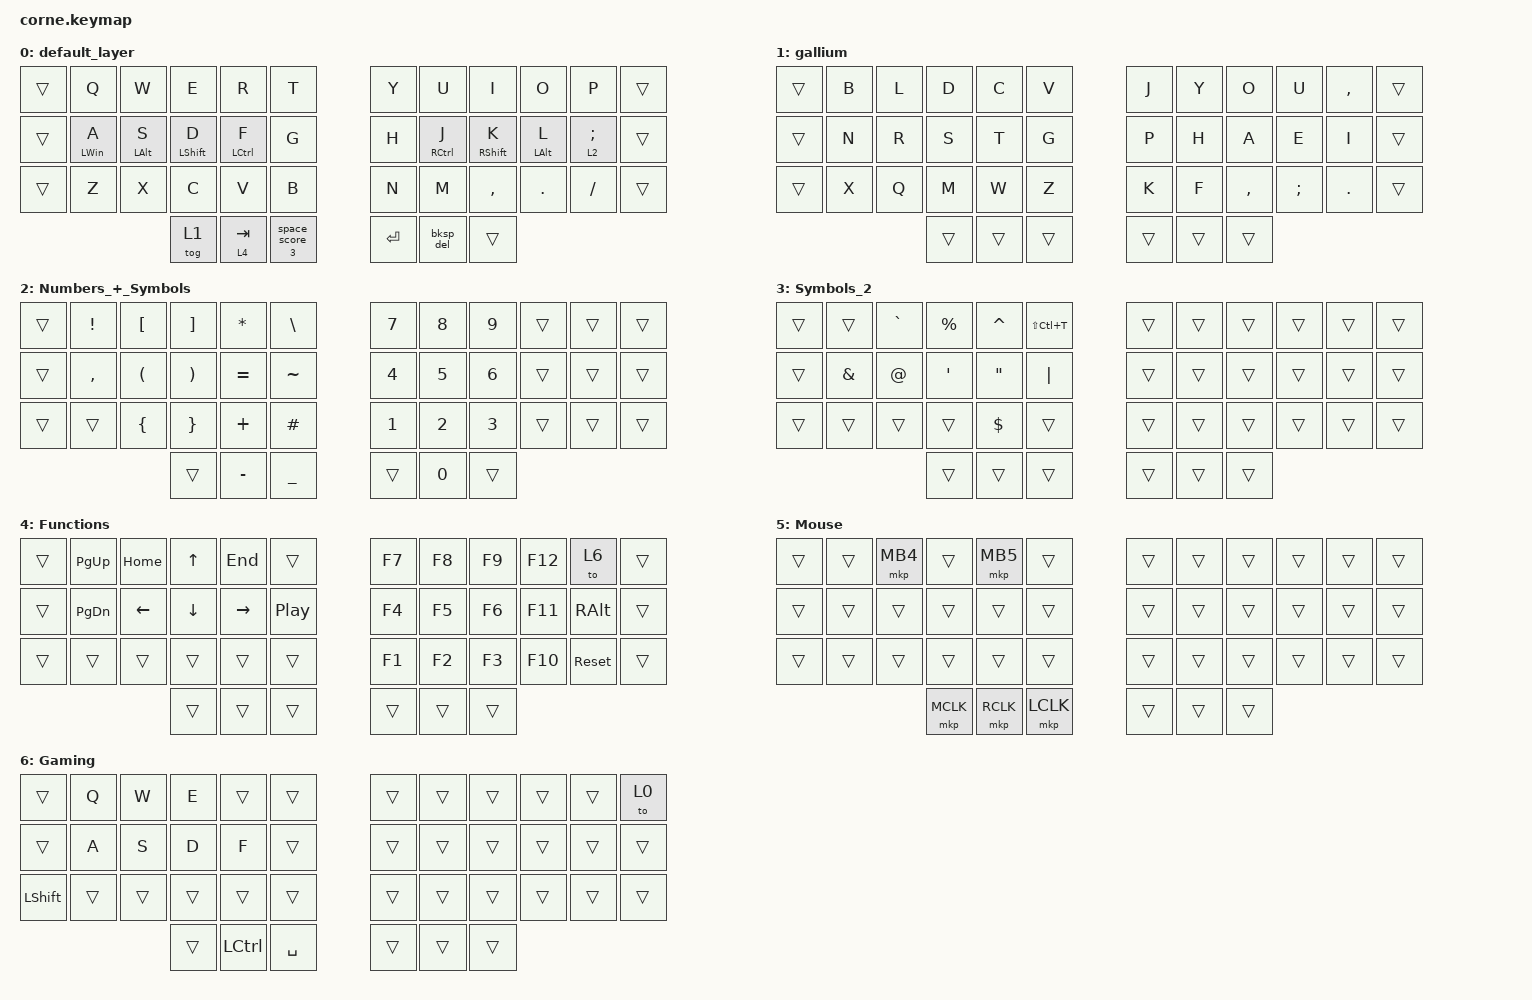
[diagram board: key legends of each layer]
/*
 * Copyright (c) 2020 The ZMK Contributors
 *
 * SPDX-License-Identifier: MIT
 */

#include <behaviors.dtsi>
#include <dt-bindings/zmk/keys.h>
#include <dt-bindings/zmk/pointing.h>

&lt { quick-tap-ms = <200>; };

/ {
    combos {
        compatible = "zmk,combos";

        // Escape combo: Q + W

        combo_esc {
            timeout-ms = <50>;
            key-positions = <19 20>;
            bindings = <&kp ESC>;
        };

        esc2 {
            bindings = <&kp ESC>;
            key-positions = <15 16>;
            timeout-ms = <50>;
        };
    };

    behaviors {
        bksp_del: bksp_del {
            compatible = "zmk,behavior-mod-morph";
            label = "BKSP_DEL";
            bindings = <&kp BACKSPACE>, <&kp DEL>;

            #binding-cells = <0>;
            mods = <(MOD_LSFT|MOD_RSFT)>;
        };

        hm_left: hm_left {
            compatible = "zmk,behavior-hold-tap";
            label = "HM_LEFT";
            bindings = <&kp>, <&kp>;

            #binding-cells = <2>;
            tapping-term-ms = <200>;
            flavor = "balanced";
            hold-trigger-key-positions = <6 7 8 9 10 11 18 19 20 21 22 23 30 31 32 33 34 35 39 40 41>;
            hold-trigger-on-release;
        };

        layer_hold: layer_hold {
            compatible = "zmk,behavior-hold-tap";
            label = "LAYER_HOLD";
            bindings = <&tog>, <&kp>;

            #binding-cells = <2>;
            tapping-term-ms = <200>;
        };

        hm_right: hm_right {
            compatible = "zmk,behavior-hold-tap";
            label = "HM_RIGHT";
            bindings = <&kp>, <&kp>;

            #binding-cells = <2>;
            tapping-term-ms = <200>;
            flavor = "balanced";
            hold-trigger-key-positions = <0 1 2 4 3 5 12 13 14 15 16 17 24 25 26 27 28 29 36 37 38>;
            hold-trigger-on-release;
        };

        space_score: space_score {
            compatible = "zmk,behavior-mod-morph";
            label = "SPACE_SCORE";
            bindings = <&kp SPACE>, <&kp UNDER>;

            #binding-cells = <0>;
            mods = <(MOD_LSFT|MOD_RSFT)>;
        };

        space_layer: space_layer {
            compatible = "zmk,behavior-hold-tap";
            label = "SPACE_LAYER";
            bindings = <&layer_hold>, <&space_score>;

            #binding-cells = <2>;
            tapping-term-ms = <200>;
        };
    };

    keymap {
        compatible = "zmk,keymap";

        default_layer {
            // -----------------------------------------------------------------------------------------
            // |  TAB |  Q  |  W  |  E  |  R  |  T  |   |  Y  |  U   |  I  |  O  |  P  | BSPC |
            // | CTRL |  A  |  S  |  D  |  F  |  G  |   |  H  |  J   |  K  |  L  |  ;  |  '   |
            // | SHFT |  Z  |  X  |  C  |  V  |  B  |   |  N  |  M   |  ,  |  .  |  /  | ESC  |
            //                    | GUI | LWR | SPC |   | ENT | RSE  | ALT |

            bindings = <
&trans  &kp Q                &kp W                &kp E                  &kp R             &kp T               &kp Y      &kp U              &kp I                    &kp O                 &kp P                    &trans
&trans  &hm_left LEFT_WIN A  &hm_left LEFT_ALT S  &hm_left LEFT_SHIFT D  &hm_left LCTRL F  &kp G               &kp H      &hm_right RCTRL J  &hm_right RIGHT_SHIFT K  &hm_right LEFT_ALT L  &layer_hold 2 SEMICOLON  &trans
&trans  &kp Z                &kp X                &kp C                  &kp V             &kp B               &kp N      &kp M              &kp COMMA                &kp DOT               &kp FSLH                 &trans
                                                  &tog 1                 &lt 4 TAB         &space_layer 3 0    &kp ENTER  &bksp_del          &trans
            >;
        };

        gallium {
            bindings = <
&trans  &kp B  &kp L  &kp D   &kp C   &kp V     &kp J   &kp Y   &kp O      &kp U     &kp COMMA  &trans
&trans  &kp N  &kp R  &kp S   &kp T   &kp G     &kp P   &kp H   &kp A      &kp E     &kp I      &trans
&trans  &kp X  &kp Q  &kp M   &kp W   &kp Z     &kp K   &kp F   &kp COMMA  &kp SEMI  &kp DOT    &trans
                      &trans  &trans  &trans    &trans  &trans  &trans
            >;
        };

        Numbers_+_Symbols {
            // -----------------------------------------------------------------------------------------
            // |  TAB |  1  |  2  |  3  |  4  |  5  |   |  6  |  7  |  8  |  9  |  0  | BSPC |
            // | BTCLR| BT1 | BT2 | BT3 | BT4 | BT5 |   | LFT | DWN |  UP | RGT |     |      |
            // | SHFT |     |     |     |     |     |   |     |     |     |     |     |      |
            //                    | GUI |     | SPC |   | ENT |     | ALT |

            bindings = <
&trans  &kp EXCLAMATION  &kp LEFT_BRACKET      &kp RIGHT_BRACKET      &kp ASTERISK  &kp BACKSLASH    &kp N7        &kp NUMBER_8  &kp N9        &trans  &trans  &trans
&trans  &kp COMMA        &kp LEFT_PARENTHESIS  &kp RIGHT_PARENTHESIS  &kp EQUAL     &kp TILDE        &kp NUMBER_4  &kp NUMBER_5  &kp NUMBER_6  &trans  &trans  &trans
&trans  &trans           &kp LEFT_BRACE        &kp RIGHT_BRACE        &kp PLUS      &kp HASH         &kp NUMBER_1  &kp NUMBER_2  &kp NUMBER_3  &trans  &trans  &trans
                                               &trans                 &kp MINUS     &kp UNDER        &trans        &kp N0        &trans
            >;
        };

        Symbols_2 {
            bindings = <
&trans  &trans    &kp GRAVE    &kp PERCENT  &kp CARET          &kp LS(LC(T))    &trans  &trans  &trans  &trans  &trans  &trans
&trans  &kp AMPS  &kp AT_SIGN  &kp SQT      &kp DOUBLE_QUOTES  &kp PIPE         &trans  &trans  &trans  &trans  &trans  &trans
&trans  &trans    &trans       &trans       &kp DOLLAR         &trans           &trans  &trans  &trans  &trans  &trans  &trans
                               &trans       &trans             &trans           &trans  &trans  &trans
            >;
        };

        Functions {
            // -----------------------------------------------------------------------------------------
            // |  TAB |  !  |  @  |  #  |  $  |  %  |   |  ^  |  &  |  *  |  (  |  )  | BSPC |
            // | CTRL |     |     |     |     |     |   |  -  |  =  |  [  |  ]  |  \  |  `   |
            // | SHFT |     |     |     |     |     |   |  _  |  +  |  {  |  }  | "|" |  ~   |
            //                    | GUI |     | SPC |   | ENT |     | ALT |

            bindings = <
&trans  &kp PAGE_UP    &kp HOME  &kp UP_ARROW  &kp END    &trans      &kp F7  &kp F8  &kp F9  &kp F12  &to 6          &trans
&trans  &kp PAGE_DOWN  &kp LEFT  &kp DOWN      &kp RIGHT  &kp C_PP    &kp F4  &kp F5  &kp F6  &kp F11  &kp RIGHT_ALT  &trans
&trans  &trans         &trans    &trans        &trans     &trans      &kp F1  &kp F2  &kp F3  &kp F10  &sys_reset     &trans
                                 &trans        &trans     &trans      &trans  &trans  &trans
            >;
        };

        Mouse {
            bindings = <
&trans  &trans  &mkp MB4  &trans     &mkp MB5   &trans       &trans  &trans  &trans  &trans  &trans  &trans
&trans  &trans  &trans    &trans     &trans     &trans       &trans  &trans  &trans  &trans  &trans  &trans
&trans  &trans  &trans    &trans     &trans     &trans       &trans  &trans  &trans  &trans  &trans  &trans
                          &mkp MCLK  &mkp RCLK  &mkp LCLK    &trans  &trans  &trans
            >;
        };

        Gaming {
            bindings = <
&trans          &kp Q   &kp W   &kp E   &trans            &trans       &trans  &trans  &trans  &trans  &trans  &to 0
&trans          &kp A   &kp S   &kp D   &kp F             &trans       &trans  &trans  &trans  &trans  &trans  &trans
&kp LEFT_SHIFT  &trans  &trans  &trans  &trans            &trans       &trans  &trans  &trans  &trans  &trans  &trans
                                &trans  &kp LEFT_CONTROL  &kp SPACE    &trans  &trans  &trans
            >;
        };
    };
};
